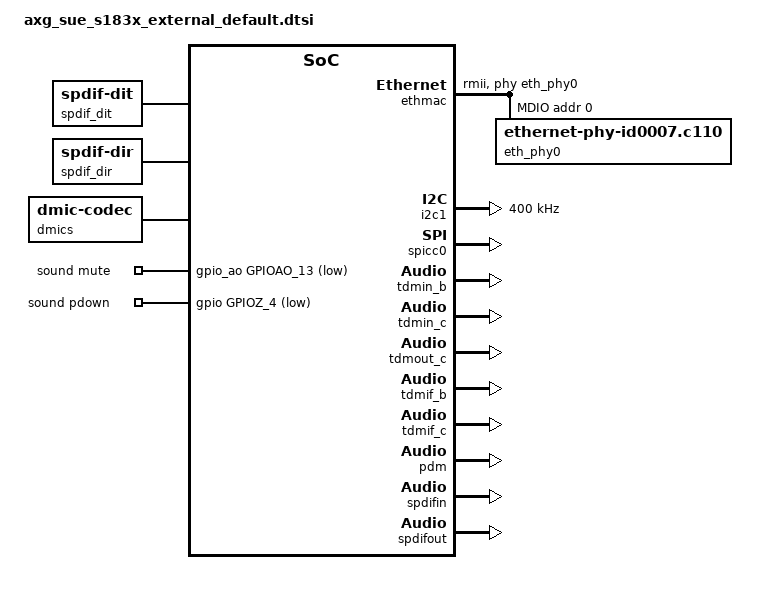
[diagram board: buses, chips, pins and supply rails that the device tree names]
// SPDX-License-Identifier: (GPL-2.0+ OR MIT)
/*
 * Copyright (C) 2022 StreamUnlimited, Inc. All rights reserved.
 */


/*
 * DT for default configuration of Stream183x external IOs.
 */


/ {
	aliases {
		spi0 = &spicc0;
	};

	spdif_dit: audio-codec-2 {
		#sound-dai-cells = <0>;
		compatible = "linux,spdif-dit";
		status = "okay";
		sound-name-prefix = "DIT";
	};

	spdif_dir: audio-codec-4 {
		#sound-dai-cells = <0>;
		compatible = "linux,spdif-dir";
		status = "okay";
		sound-name-prefix = "DIR";
	};

	dmics: audio-codec-3 {
		#sound-dai-cells = <0>;
		compatible = "dmic-codec";
		num-channels = <7>;
		wakeup-delay-ms = <50>;
		status = "okay";
		sound-name-prefix = "MIC";
	};

	dummy_codec:dummy{
		#sound-dai-cells = <0>;
		compatible = "meson,dummy-codec";
		playback-rates = <44100 48000 64000 88200 96000 176400 192000>;
		status = "okay";
		sound-name-prefix = "DUMMY";
	};

	sound {
		compatible = "amlogic,axg-sound-card";
		model = "AXG-S400";
		assigned-clocks = <&clkc CLKID_HIFI_PLL>,
				  <&clkc CLKID_MPLL0>,
				  <&clkc CLKID_MPLL1>;
		assigned-clock-parents = <0>, <0>, <0>;
		assigned-clock-rates = <491520000>,
				       <270950400>,
				       <393216000>;
		status = "okay";
		audio-aux-devs = <&tdmin_b>, <&tdmin_c>, <&tdmout_c>;
						/* "sink", 		"source" */
		audio-routing = "TDM_C Playback", "TDMOUT_C OUT",
						"TDMOUT_C IN 1", "FRDDR_B OUT 2",
						"SPDIFOUT IN 2", "FRDDR_C OUT 3",
						"TODDR_C IN 3", "SPDIFIN Capture",
						"TDMIN_C IN 2", "TDM_C Capture",
						"TDMIN_C IN 5", "TDM_C Loopback",
						"TODDR_B IN 2", "TDMIN_C OUT",
						"TDMIN_B IN 1", "TDM_B Capture",
						"TODDR_B IN 1", "TDMIN_B OUT",
						"TODDR_A IN 4", "PDM Capture";

		mute-gpios = <&gpio_ao GPIOAO_13 GPIO_ACTIVE_LOW>;
		pdown-gpios = <&gpio GPIOZ_4 GPIO_ACTIVE_LOW>;

		dai-link-0 {
			sound-dai = <&frddr_a>;
		};

		dai-link-1 {
			sound-dai = <&frddr_b>;
		};

		dai-link-2 {
			sound-dai = <&frddr_c>;
		};

		dai-link-3 {
			sound-dai = <&toddr_a>;
		};

		dai-link-4 {
			sound-dai = <&toddr_b>;
		};

		dai-link-5 {
			sound-dai = <&toddr_c>;
		};

		dai-link-6 {
			sound-dai = <&pdm>;

			codec {
				sound-dai = <&dmics>;
			};
		};

		dai-link-7 {
			sound-dai = <&tdmif_b>;
			dai-format = "i2s";
			dai-tdm-slot-rx-mask-0 = <1 1>;
			dai-tdm-slot-num = <2>;
			dai-tdm-slot-width = <32>;
			mclk-fs = <0>;
			system-clock-frequency = <24576000>;

			codec {
				sound-dai = <&dummy_codec>;
			};
		};

		dai-link-8 {
			sound-dai = <&tdmif_c>;
			dai-format = "i2s";
			dai-tdm-slot-tx-mask-0 = <1 1>;
			dai-tdm-slot-rx-mask-1 = <1 1>;
			dai-tdm-slot-num = <2>;
			dai-tdm-slot-width = <32>;
			mclk-fs = <0>;
			continuous-clock;
			system-clock-frequency = <24576000>;

			codec-0 {
				sound-dai = <&dummy_codec>;
			};
		};

		dai-link-9 {
			sound-dai = <&spdifout>;

			codec {
				sound-dai = <&spdif_dit>;
			};
		};

		dai-link-10 {
			sound-dai = <&spdifin>;

			codec {
				sound-dai = <&spdif_dir>;
			};
		};
	};
};

&ethmac {
	status = "okay";
	pinctrl-0 = <&eth_rmii_x_pins>;
	pinctrl-names = "default";
	phy-handle = <&eth_phy0>;
	phy-mode = "rmii";

	mdio {
		compatible = "snps,dwmac-mdio";
		#address-cells = <1>;
		#size-cells = <0>;
		snps,reset-gpio = <&gpio_ao GPIOAO_7 GPIO_ACTIVE_LOW>;
		snps,reset-active-low = <1>;
		snps,reset-delays-us = <1000 10000 1000>;

		eth_phy0: ethernet-phy@0 {
			reg = <0>;
			interrupt-names = "macirq";
			compatible = "ethernet-phy-id0007.c110";
		};
	};
};

&i2c1 {
	status = "okay";
	pinctrl-names="default";
	pinctrl-0=<&i2c1_z_pins>;
	clock-frequency = <400000>;
};

&spicc0 {
	status = "okay";
	pinctrl-names= "default";
	pinctrl-0=<&spi0_pins>;
};

&tdmin_b {
	status = "okay";
};

&tdmin_c {
	status = "okay";
};

&tdmout_c {
	status = "okay";
};

&tdmif_b {
	pinctrl-0 = <&tdmb_sclk_pins>, <&tdmb_fs_pins>,
		    <&tdmb_din0_pins>;
	pinctrl-names = "default";
	status = "okay";

	assigned-clocks = <&clkc_audio AUD_CLKID_MST_B_MCLK_SEL>;
	assigned-clock-parents = <&clkc CLKID_HIFI_PLL>;
};

&tdmif_c {
	pinctrl-0 = <&tdmc_sclk_pins>, <&tdmc_fs_pins>,
		    <&tdmc_dout0_pins>, <&tdmc_din1_pins>,
		    <&mclk_c_pins>;
	pinctrl-names = "default";
	status = "okay";
	enable-drift-compensator;

	assigned-clocks = <&clkc_audio AUD_CLKID_MST_C_MCLK_SEL>;
	assigned-clock-parents = <&clkc CLKID_HIFI_PLL>;
};

&pdm {
	pinctrl-0 = <&pdm_dclk_a14_pins>, <&pdm_din0_pins>;
	pinctrl-names = "default";
	status = "okay";
	assigned-clocks = <&clkc_audio AUD_CLKID_PDM_SYSCLK_SEL>, <&clkc_audio AUD_CLKID_PDM_DCLK_SEL>;
	assigned-clock-parents = <&clkc CLKID_HIFI_PLL>, <&clkc CLKID_HIFI_PLL>;
};

&spdifin {
	pinctrl-0 = <&spdif_in_a19_pins>;
	pinctrl-names = "default";
	status = "okay";
};

&toddr_c {
	compatible = "amlogic,axg-toddr-spdif";
};

&spdifout {
	pinctrl-0 = <&spdif_out_a20_pins>;
	pinctrl-names = "default";
	status = "okay";
};
